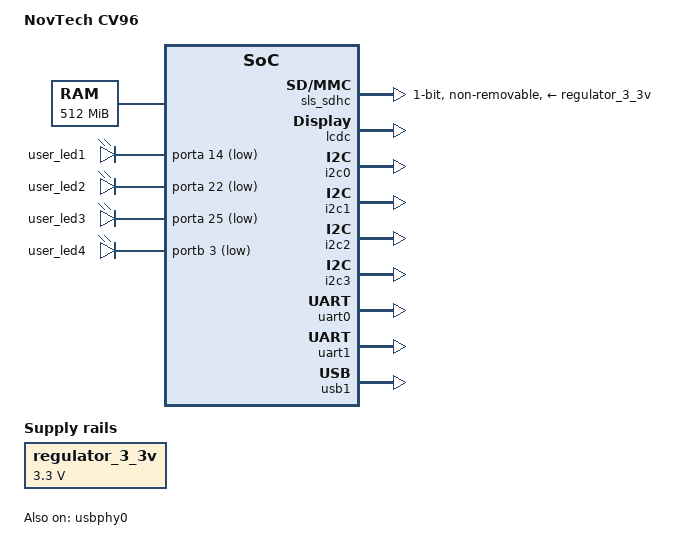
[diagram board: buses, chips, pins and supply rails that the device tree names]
/*
 *  Copyright (C) 2013 Steffen Trumtrar <s.trumtrar@pengutronix.de>
 *
 * This program is free software; you can redistribute it and/or modify
 * it under the terms of the GNU General Public License as published by
 * the Free Software Foundation; either version 2 of the License, or
 * (at your option) any later version.
 *
 * This program is distributed in the hope that it will be useful,
 * but WITHOUT ANY WARRANTY; without even the implied warranty of
 * MERCHANTABILITY or FITNESS FOR A PARTICULAR PURPOSE.  See the
 * GNU General Public License for more details.
 *
 * You should have received a copy of the GNU General Public License
 * along with this program.  If not, see <http://www.gnu.org/licenses/>.
 */

#include <dt-bindings/interrupt-controller/irq.h>
#include <dt-bindings/gpio/gpio.h>
#include <dt-bindings/display/tda998x.h>
#include "socfpga_cyclone5.dtsi"

/ {
	model = "NovTech CV96";
	compatible = "altr,socfpga-cyclone5", "altr,socfpga";

	alias {
//		mmc0 = &sls_sdhc;
	};

	chosen {
		bootargs = "console=ttyS0,115200";
	};

	memory {
		name = "memory";
		device_type = "memory";
		reg = <0x0 0x20000000>; /* 256MB */
	};

	regulator_3_3v: vcc3p3-regulator {
		compatible = "regulator-fixed";
		regulator-name = "VCC3P3";
		regulator-min-microvolt = <3300000>;
		regulator-max-microvolt = <3300000>;
	};

       leds {
                compatible = "gpio-leds";
                usr0 {
                        label = "user_led1";
                        gpios = <&porta 14 GPIO_ACTIVE_LOW>;
			default-state = "on";
                };

                user1 {
                        label = "user_led2";
                        gpios = <&porta 22 GPIO_ACTIVE_LOW>;
			default-state = "on";
                };

                user2 {
                        label = "user_led3";
                        gpios = <&porta 25 GPIO_ACTIVE_LOW>;
			default-state = "on";
                };

                user3 {
                        label = "user_led4";
                        gpios = <&portb 3 GPIO_ACTIVE_LOW>;
			default-state = "on";
                };
        };

/*
	wlreg_on: fixedregulator@100 {
		compatible = "regulator-fixed";
		regulator-name = "wlreg_on";
		//gpio = <&gpio5 16 0>;
		startup-delay-us = <100>;
		enable-active-high;
		regulator-min-microvolt = <3300000>;
		regulator-max-microvolt = <3300000>;
		regulator-always-on;
	};
*/


    ethernet@ff702000 {
		status = "disabled";
	};

	soc {

        hps_0_fpgamgr: fpgamgr@0xff706000 {
            compatible = "altr,fpga-mgr-16.0", "altr,fpga-mgr";
            reg = <0xff706000 0x00001000>,
                <0xffb90000 0x00000100>;
            reg-names = "axi_slave0", "axi_slave1";
            interrupt-parent = <&intc>;
            interrupts = <0 175 4>; 
            transport = "mmio"; /* embeddedsw.dts.params.transport type STRING */
        }; //end fpgamgr@0xff706000 (hps_0_fpgamgr)

		alt_vip_vfr_0: vip@0xff201000{
			compatible = "altr,vip-frame-reader-1.0",
				"altr,vip-frame-reader-9.1";
			reg = <0xff201000 0x00000080>;
			max-width = <1280>;
			max-height = <720>;
			bits-per-color = <8>;
			mem-word-width = <128>;
		};

		hps_0_bridges: bridge@0xff200000 {
            compatible = "altr,bridge-16.0", "simple-bus";
            reg = <0xff200000 0x200000>; /*Novtech was ff210000 */

        /*    
		clocks = <0x2 0x2 0x2>;
                clock-names = "h2f_lw_axi_clock", "f2h_sdram0_clock", "f2h_sdram1_clock";         
        */

            #address-cells = <0x2>;
            #size-cells = <0x1>;

                        ranges = <0x1 0x10000 0xff210000 0x8>,
                                <0x1 0x0 0xff200000 0x400>,
				<0x1 0x1000 0xff201000 0x400>,
				<0x1 0x2000 0xff202000 0x400>,
				<0x1 0x3000 0xff203000 0x400>,

                                <0x1 0x460 0xff200460 0x20>,
				<0x1 0x1460 0xff201460 0x20>,
				<0x1 0x2460 0xff202460 0x20>,
				<0x1 0x3460 0xff203460 0x20>,

                                <0x1 0x480 0xff200480 0x20>,
				<0x1 0x1480 0xff201480 0x20>,
				<0x1 0x2480 0xff202480 0x20>,
				<0x1 0x3480 0xff203480 0x20>,

				<0x1 0x4a0 0xff2004a0 0x8>,
				<0x1 0x14a0 0xff2014a0 0x8>,
				<0x1 0x24a0 0xff2024a0 0x8>,
				<0x1 0x34a0 0xff2034a0 0x8>,

				<0x1 0x1400 0xff201400 0x20>,
				<0x1 0x400 0xff200400 0x20>, 
				<0x1 0x2400 0xff202400 0x20>, 
				<0x1 0x3400 0xff203400 0x20>,

				<0x1 0x420 0xff200420 0x20>,
				<0x1 0x1420 0xff201420 0x20>,
				<0x1 0x2420 0xff202420 0x20>,
				<0x1 0x3420 0xff203420 0x20>,

				<0x1 0x500 0xff200500 0x10>,
				<0x1 0x510 0xff200510 0x10>,
				<0x1 0x1500 0xff201500 0x10>,
				<0x1 0x1510 0xff201510 0x10>,

				<0x1 0x2500 0xff202500 0x10>,
				<0x1 0x2510 0xff202510 0x10>, 
				<0x1 0x3500 0xff203500 0x10>,
				<0x1 0x3510 0xff203510 0x10>,

				<0x1 0x11000 0xff211000 0x400>,
				<0x1 0x20000 0xff220000 0x10>,
				<0x1 0x20010 0xff220010 0x10>;

/*
            ranges = <0x00000001 0x00010000 0xff210000 0x00000008>,
		<0x00000001 0x00001000 0xFF201000 0x00000400>,
		<0x00000001 0x00001400 0xFF201400 0x00000008>,
		<0x00000001 0x00001450 0xFF201450 0x00000008>,
		<0x00000001 0x00001500 0xFF201500 0x00000010>,
		<0x00000001 0x00001560 0xFF201560 0x00000020>,
		<0x00000001 0x00011000 0xFF211000 0x00000400>,
		<0x00000001 0x00020010 0xFF220010 0x00000010>;
*/

/*
         ranges = <0x00000001 0x00010000 0xff210000 0x00000008>,
		<0x00000001 0x00011000 0xFF211000 0x00000400>,
		<0x00000001 0x00020010 0xFF220010 0x00000010>;
*/


			sls_sdhc: mmc0@0x00011000 {
				compatible = "SLS,sls_sdio-1.10", "sls,sdio-cntrlr";
				reg = < 0x00000001 0x00011000 0x00000400 >;
				interrupt-parent = < &intc >;
				interrupts = < 0 0x2c 4 >;
			/*	interrupts <4>; */
				clocks = < 50000000 >; /* appended from boardinfo */
				broken-cd; /* appended from boardinfo */
				bus-width = < 1 >; /* appended from boardinfo */
				max-frequency = < 200000000 >;/*  appended fromyy boardinfo*/
				/* max-frequency = < 100000000 >; */   /* 100 Mhz should make SD clock 50Mhz - using divider value 2 on 100Mhz from avalon clock */
/* setting max-frequency higher (400 Mhz) will make SD clock smaller (12.5) Mhz due to divider value 4 */
 
				/* max-frequency = < 400000000 >; */
/* appended from boardinfo */
				keep-power-in-suspend; /* appended from boardinfo */
				enable-sdio-wakeup;

				/* NOVTECH - no vmmc-supply? */
			       	vmmc-supply = <&regulator_3_3v>;
       				vqmmc-supply = <&regulator_3_3v>;

				wifi-host;
				no-1-8-v;
    				non-removable;
#if 0
    wlan_0:  wlan@0 {
        compatible = "brcm,bcm4329-fmac";
	interrupts = <0 0x1a 4>;
#if 0
      wlreg_on-supply = <&wlreg_on>;
    	bcmdhd_wlan_irq = <&gpio6 14 0>;
      	bcmdhd_wlan_irq = <0 0x1a 4>;
#endif
    };
#endif

			}; //end mmc@0x100011000 (sls_sdio)

			pll_lock_nirqs_status_reg: gpio@0x000020010 {
				compatible = "altr,pio-16.0", "altr,pio-1.0";
				reg = <0x00000001 0x00020010 0x00000010>;
				altr,gpio-bank-width = <5>; /* embeddedsw.dts.params.altr,gpio-bank-width type NUMBER */
				resetvalue = <0>;   /* embeddedsw.dts.params.resetvalue type NUMBER */
				#gpio-cells = <2>;
				gpio-controller;
           	}; //end gpio@0x100020010 (pll_lock_nirqs_status_reg)
	    };  //end bridge@0xff210000 (hps_0_bridges)
	};

	lcdc {
		status = "okay";
#if 0
		/* If you want to get 24 bit RGB and 16 BGR mode instead of
		* current 16 bit RGB and 24 BGR modes, set the propety
		* below to "crossed" and uncomment the video-ports -property
		* in tda19988 node.
		*/

		/*    blue-and-red-wiring = "straight"; */

		port {
			lcdc_0: endpoint@0 {
				remote-endpoint = <&hdmi_0>;
			};
		};  
#endif
	};
};

&i2c0 {
	status = "okay";
};

&i2c1 {
	status = "okay";
};

&i2c2 {
	status = "okay";
#if 0
       tda998x: hdmi-encoder {
                compatible = "tda19988x";
                //reg = <0x70>;
                reg = <0x37>;


                interrupt-parent = <&intc>;
/*                interrupts = <16 IRQ_TYPE_EDGE_FALLING>;    */
		interrupts = <0 0x11 4>; /* falling edge */

        //      video-ports = <0x230145>;                  /* default value */

/*
                pinctrl-0 = <&pinctrl_tda998x &pinctrl_lcdif_dat &pinctrl_lcdif_ctrl>;
                pinctrl-names = "default";
*/

                #sound-dai-cells = <0>;

                /*      DAI-format      AP_ENA reg value */
                /*audio-ports = <TDA998x_I2S    0x03>;*/
                audio-ports = <AFMT_I2S 0x03>;

		ports {
			port@0 {
				hdmi_0: endpoint@0 {
					remote-endpoint = <&lcdc_0>;
				};
			};
		};
        };
#endif
};

&i2c3 {
	status = "okay";
};

&uart0 {
        status = "okay";
};

&uart1 {
        status = "okay";
};

&usbphy0 {
	status = "okay";
};

&usb0 {
/*	status = "okay"; */
};

&usb1 {
   	status = "okay"; 
};

&gpio0 {
	status = "okay";
};

&gpio1 {
	status = "okay";
};

&gpio2 {
	status = "okay";
};


/*
&mmc1 {
    num-slots = <1>;
    supports-highspeed;
    broken-cd;
    altr,dw-mshc-ciu-div = <3>;
    altr,dw-mshc-sdr-timing = <0 3>;

    slot@0 {
    pinctrl-names = "default";
    //pinctrl-0 = <&pinctrl_wifi>;
    bus-width = <4>;
    no-1-8-v;
    non-removable;
//  cd-post;
//  pm-ignore-notify;

    keep-power-in-suspend;
    enable-sdio-wakeup;
    vmmc-supply = <&wlreg_on>;
    wifi-host;
    status="okay";

//   cd-gpios = <&gpio1 18 0>;
//    reg = <0>;
//    bus-width = <4>;
    };  
};
*/






